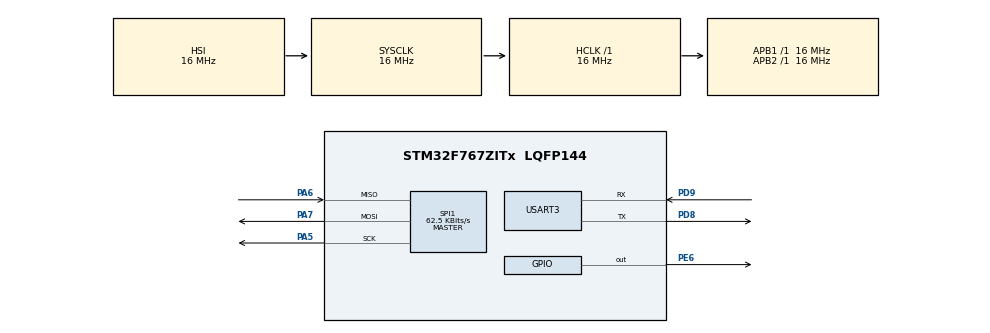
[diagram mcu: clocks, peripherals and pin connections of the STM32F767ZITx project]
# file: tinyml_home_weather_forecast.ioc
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CORTEX_M7.default_mode_Activation=1
Mcu.Family=STM32F7
Mcu.Name=STM32F767ZITx
Mcu.Package=LQFP144
NVIC.PriorityGroup=NVIC_PRIORITYGROUP_4
PA5.GPIO_PuPd=GPIO_NOPULL
PA5.Mode=Full_Duplex_Master
PA5.Signal=SPI1_SCK
PA6.GPIO_PuPd=GPIO_PULLUP
PA6.Mode=Full_Duplex_Master
PA6.Signal=SPI1_MISO
PA7.GPIO_PuPd=GPIO_PULLUP
PA7.Mode=Full_Duplex_Master
PA7.Signal=SPI1_MOSI
PD8.Mode=Asynchronous
PD8.Signal=USART3_TX
PD9.Mode=Asynchronous
PD9.Signal=USART3_RX
PE6.GPIO_PuPd=GPIO_PULLUP
PE6.PinState=GPIO_PIN_SET
PE6.Signal=GPIO_Output
ProjectManager.HeapSize=0x200
ProjectManager.StackSize=0x400
ProjectManager.TargetToolchain=STM32CubeIDE
RCC.AHBFreq_Value=16000000
RCC.APB1Freq_Value=16000000
RCC.APB1TimFreq_Value=16000000
RCC.APB2Freq_Value=16000000
RCC.APB2TimFreq_Value=16000000
RCC.CortexFreq_Value=16000000
RCC.HCLKFreq_Value=16000000
RCC.HSE_VALUE=25000000
RCC.HSI_VALUE=16000000
RCC.LSE_VALUE=32768
RCC.SYSCLKFreq_VALUE=16000000
RCC.USBFreq_Value=96000000
RCC.VCOOutputFreq_Value=192000000
SPI1.BaudRatePrescaler=SPI_BAUDRATEPRESCALER_256
SPI1.CalculateBaudRate=62.5 KBits/s
SPI1.DataSize=SPI_DATASIZE_8BIT
SPI1.Direction=SPI_DIRECTION_2LINES
SPI1.Mode=SPI_MODE_MASTER
SPI1.VirtualType=VM_MASTER
USART3.VirtualMode-Asynchronous=VM_ASYNC
VP_FATFS_VS_Generic.Mode=User_defined
board=custom

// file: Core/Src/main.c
/* USER CODE BEGIN Header */
/**
 ******************************************************************************
 * @file           : main.c
 * @brief          : Targeted SD initialization test
 ******************************************************************************
 */
/* USER CODE END Header */
#include "main.h"
#include "fatfs.h"

/* USER CODE BEGIN Includes */
#include "ff.h"
#include "ff_gen_drv.h"
#include <stdio.h>
#include <string.h>
/* USER CODE END Includes */

/* USER CODE BEGIN PD */
#define SD_CS_PIN      GPIO_PIN_6
#define SD_CS_PORT     GPIOE
/* USER CODE END PD */

SPI_HandleTypeDef hspi1;

UART_HandleTypeDef huart3;

/* USER CODE BEGIN PV */
FATFS fs;
FIL fil;
FRESULT fres;
extern Diskio_drvTypeDef USER_Driver;
extern Disk_drvTypeDef disk;
/* USER CODE END PV */

void SystemClock_Config(void);
static void MPU_Config(void);
static void MX_GPIO_Init(void);
static void MX_USART3_UART_Init(void);
static void MX_SPI1_Init(void);
/* USER CODE BEGIN PFP */
void SD_CS_Enable(void) {
	HAL_GPIO_WritePin(SD_CS_PORT, SD_CS_PIN, GPIO_PIN_RESET);
}
void SD_CS_Disable(void) {
	HAL_GPIO_WritePin(SD_CS_PORT, SD_CS_PIN, GPIO_PIN_SET);
}

void TestFATFS(void);
void Debug_FatFs_State(void);
/* USER CODE END PFP */

/* USER CODE BEGIN 0 */

// Add the _write function for printf to work with UART
int _write(int fd, char *ptr, int len) {
	HAL_StatusTypeDef hstatus;
	if (fd == 1 || fd == 2) {
		hstatus = HAL_UART_Transmit(&huart3, (uint8_t*) ptr, len,
		HAL_MAX_DELAY);
		if (hstatus == HAL_OK)
			return len;
		else
			return -1;
	}
	return -1;
}

void Debug_FatFs_State(void) {
	printf("=== FatFs Debug Info ===\r\n");
	printf("_VOLUMES: %d\r\n", _VOLUMES);
	printf("disk.nbr: %d\r\n", disk.nbr);

	for (int i = 0; i < disk.nbr; i++) {
		printf("Drive %d: drv=%p, lun=%d, init=%d\r\n", i, disk.drv[i],
				disk.lun[i], disk.is_initialized[i]);
	}
	printf("========================\r\n");
}

void TestFATFS(void) {
	FRESULT fres;
	FIL fil;
	UINT bw;
	char buffer[100];

	printf("\r\n=== Testing FATFS functionality ===\r\n");

	// Test file creation and writing
	fres = f_open(&fil, "0:/test.txt", FA_CREATE_ALWAYS | FA_WRITE);
	if (fres == FR_OK) {
		printf("File created successfully\r\n");

		const char *test_data = "Hello from STM32 and SD card!\r\n";
		fres = f_write(&fil, test_data, strlen(test_data), &bw);
		if (fres == FR_OK && bw == strlen(test_data)) {
			printf("Data written successfully (%u bytes)\r\n", bw);
		} else {
			printf("Write failed, fres=%d, bw=%u\r\n", fres, bw);
		}
		f_close(&fil);
	} else {
		printf("Failed to create file, fres=%d\r\n", fres);
		return;
	}

	// Test file reading
	fres = f_open(&fil, "0:/test.txt", FA_READ);
	if (fres == FR_OK) {
		printf("File opened for reading\r\n");

		UINT br;
		fres = f_read(&fil, buffer, sizeof(buffer) - 1, &br);
		if (fres == FR_OK) {
			buffer[br] = '\0'; // Null terminate
			printf("Data read successfully (%u bytes): %s", br, buffer);
		} else {
			printf("Read failed, fres=%d\r\n", fres);
		}
		f_close(&fil);
	} else {
		printf("Failed to open file for reading, fres=%d\r\n", fres);
	}

	// Get free space
	FATFS *pfs;
	DWORD free_clusters, free_sectors;

	fres = f_getfree("0:", &free_clusters, &pfs);
	if (fres == FR_OK) {
		free_sectors = free_clusters * pfs->csize;
		printf("Free space: %lu sectors (%lu KB)\r\n", free_sectors,
				free_sectors / 2);
	} else {
		printf("Failed to get free space, fres=%d\r\n", fres);
	}
}

void Manual_SD_Test(void) {
	printf("\r\n=== Manual SD Card Test ===\r\n");

	// Test basic SPI communication
	uint8_t test_data = 0xFF;
	uint8_t response;

	HAL_GPIO_WritePin(SD_CS_PORT, SD_CS_PIN, GPIO_PIN_SET);
	HAL_SPI_TransmitReceive(&hspi1, &test_data, &response, 1, HAL_MAX_DELAY);
	printf("SPI test - sent: 0x%02X, received: 0x%02X\r\n", test_data,
			response);

	// Try to read a sector manually
	uint8_t sector_buffer[512];
	int result = SD_ReadSingleBlock(0, sector_buffer);
	printf("Manual sector 0 read result: %d\r\n", result);

	if (result == 0) {
		printf("First 16 bytes of sector 0:\r\n");
		for (int i = 0; i < 16; i++) {
			printf("%02X ", sector_buffer[i]);
		}
		printf("\r\n");
	}
}
/* USER CODE END 0 */

int main(void) {

	/* MPU Configuration--------------------------------------------------------*/
	MPU_Config();

	/* MCU Configuration--------------------------------------------------------*/

	/* Reset of all peripherals, Initializes the Flash interface and the Systick. */
	HAL_Init();

	/* Configure the system clock */
	SystemClock_Config();

	/* Initialize all configured peripherals */
	MX_GPIO_Init();
	MX_USART3_UART_Init();
	MX_SPI1_Init();
	MX_FATFS_Init();
	/* USER CODE BEGIN 2 */
	extern char USERPath[4];  // declared in fatfs.c
	fres = f_mount(&fs, USERPath, 1);
	printf("f_mount('%s') -> %d\r\n", USERPath, fres);

	printf("\r\n=== STM32 SD Card Debug Test ===\r\n");
	printf("System initialized\r\n");

	// Mount the filesystem - this will trigger USER_initialize
	printf("Attempting to mount filesystem...\r\n");
	fres = f_mount(&fs, "0:/", 1);  // Immediate mount
	printf("f_mount returned: %d\r\n", fres);

	if (fres == FR_OK) {
		printf("SD card mounted successfully!\r\n");
		TestFATFS();
	} else {
		printf("Mount error: %d\r\n", fres);
		// ... existing error handling ...
	}

	while (1) {
		HAL_Delay(10000);
		printf("Main loop running...\r\n");
	}
	/* USER CODE END 3 */
}

void SystemClock_Config(void) {
	RCC_OscInitTypeDef RCC_OscInitStruct = { 0 };
	RCC_ClkInitTypeDef RCC_ClkInitStruct = { 0 };

	/** Configure the main internal regulator output voltage
	 */
	__HAL_RCC_PWR_CLK_ENABLE();
	__HAL_PWR_VOLTAGESCALING_CONFIG(PWR_REGULATOR_VOLTAGE_SCALE3);

	/** Initializes the RCC Oscillators according to the specified parameters
	 * in the RCC_OscInitTypeDef structure.
	 */
	RCC_OscInitStruct.OscillatorType = RCC_OSCILLATORTYPE_HSI;
	RCC_OscInitStruct.HSIState = RCC_HSI_ON;
	RCC_OscInitStruct.HSICalibrationValue = RCC_HSICALIBRATION_DEFAULT;
	RCC_OscInitStruct.PLL.PLLState = RCC_PLL_NONE;
	if (HAL_RCC_OscConfig(&RCC_OscInitStruct) != HAL_OK) {
		Error_Handler();
	}

	/** Initializes the CPU, AHB and APB buses clocks
	 */
	RCC_ClkInitStruct.ClockType = RCC_CLOCKTYPE_HCLK | RCC_CLOCKTYPE_SYSCLK
			| RCC_CLOCKTYPE_PCLK1 | RCC_CLOCKTYPE_PCLK2;
	RCC_ClkInitStruct.SYSCLKSource = RCC_SYSCLKSOURCE_HSI;
	RCC_ClkInitStruct.AHBCLKDivider = RCC_SYSCLK_DIV1;
	RCC_ClkInitStruct.APB1CLKDivider = RCC_HCLK_DIV1;
	RCC_ClkInitStruct.APB2CLKDivider = RCC_HCLK_DIV1;

	if (HAL_RCC_ClockConfig(&RCC_ClkInitStruct, FLASH_LATENCY_0) != HAL_OK) {
		Error_Handler();
	}
}

static void MX_SPI1_Init(void) {

	/* SPI1 parameter configuration*/
	hspi1.Instance = SPI1;
	hspi1.Init.Mode = SPI_MODE_MASTER;
	hspi1.Init.Direction = SPI_DIRECTION_2LINES;
	hspi1.Init.DataSize = SPI_DATASIZE_8BIT;
	hspi1.Init.CLKPolarity = SPI_POLARITY_LOW;
	hspi1.Init.CLKPhase = SPI_PHASE_1EDGE;
	hspi1.Init.NSS = SPI_NSS_SOFT;
	hspi1.Init.BaudRatePrescaler = SPI_BAUDRATEPRESCALER_256; // Start slow
	hspi1.Init.FirstBit = SPI_FIRSTBIT_MSB;
	hspi1.Init.TIMode = SPI_TIMODE_DISABLE;
	hspi1.Init.CRCCalculation = SPI_CRCCALCULATION_DISABLE;
	hspi1.Init.CRCPolynomial = 7;
	hspi1.Init.CRCLength = SPI_CRC_LENGTH_DATASIZE;
	hspi1.Init.NSSPMode = SPI_NSS_PULSE_ENABLE;
	if (HAL_SPI_Init(&hspi1) != HAL_OK) {
		Error_Handler();
	}

}

static void MX_USART3_UART_Init(void) {

	huart3.Instance = USART3;
	huart3.Init.BaudRate = 115200;
	huart3.Init.WordLength = UART_WORDLENGTH_8B;
	huart3.Init.StopBits = UART_STOPBITS_1;
	huart3.Init.Parity = UART_PARITY_NONE;
	huart3.Init.Mode = UART_MODE_TX_RX;
	huart3.Init.HwFlowCtl = UART_HWCONTROL_NONE;
	huart3.Init.OverSampling = UART_OVERSAMPLING_16;
	huart3.Init.OneBitSampling = UART_ONE_BIT_SAMPLE_DISABLE;
	huart3.AdvancedInit.AdvFeatureInit = UART_ADVFEATURE_NO_INIT;
	if (HAL_UART_Init(&huart3) != HAL_OK) {
		Error_Handler();
	}

}

static void MX_GPIO_Init(void) {
	GPIO_InitTypeDef GPIO_InitStruct = { 0 };

	/* GPIO Ports Clock Enable */
	__HAL_RCC_GPIOE_CLK_ENABLE();
	__HAL_RCC_GPIOA_CLK_ENABLE();
	__HAL_RCC_GPIOD_CLK_ENABLE();

	/*Configure GPIO pin Output Level */
	HAL_GPIO_WritePin(GPIOE, GPIO_PIN_6, GPIO_PIN_SET);

	/*Configure GPIO pin : PE6 */
	GPIO_InitStruct.Pin = GPIO_PIN_6;
	GPIO_InitStruct.Mode = GPIO_MODE_OUTPUT_PP;
	GPIO_InitStruct.Pull = GPIO_PULLUP;
	GPIO_InitStruct.Speed = GPIO_SPEED_FREQ_LOW;
	HAL_GPIO_Init(GPIOE, &GPIO_InitStruct);

}

/* MPU Configuration */

void MPU_Config(void) {
	MPU_Region_InitTypeDef MPU_InitStruct = { 0 };

	/* Disables the MPU */
	HAL_MPU_Disable();

	/** Initializes and configures the Region and the memory to be protected
	 */
	MPU_InitStruct.Enable = MPU_REGION_ENABLE;
	MPU_InitStruct.Number = MPU_REGION_NUMBER0;
	MPU_InitStruct.BaseAddress = 0x0;
	MPU_InitStruct.Size = MPU_REGION_SIZE_4GB;
	MPU_InitStruct.SubRegionDisable = 0x87;
	MPU_InitStruct.TypeExtField = MPU_TEX_LEVEL0;
	MPU_InitStruct.AccessPermission = MPU_REGION_NO_ACCESS;
	MPU_InitStruct.DisableExec = MPU_INSTRUCTION_ACCESS_DISABLE;
	MPU_InitStruct.IsShareable = MPU_ACCESS_SHAREABLE;
	MPU_InitStruct.IsCacheable = MPU_ACCESS_NOT_CACHEABLE;
	MPU_InitStruct.IsBufferable = MPU_ACCESS_NOT_BUFFERABLE;

	HAL_MPU_ConfigRegion(&MPU_InitStruct);
	/* Enables the MPU */
	HAL_MPU_Enable(MPU_PRIVILEGED_DEFAULT);

}

void Error_Handler(void) {
	/* USER CODE BEGIN Error_Handler_Debug */
	/* User can add his own implementation to report the HAL error return state */
	printf("Error Handler called!\r\n");
	__disable_irq();
	while (1) {
	}
	/* USER CODE END Error_Handler_Debug */
}
